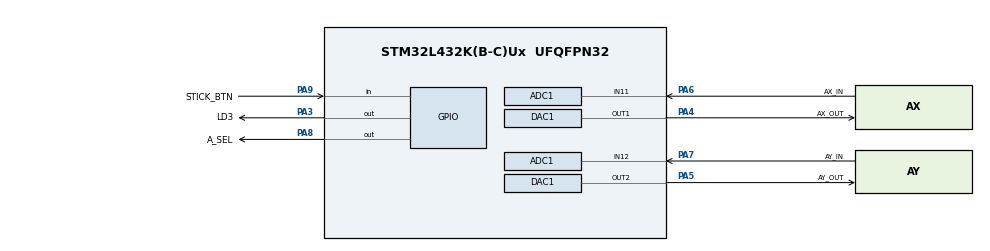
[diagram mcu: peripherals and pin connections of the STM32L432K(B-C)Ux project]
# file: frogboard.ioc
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ADC1.Channel-0\#ChannelRegularConversion=ADC_CHANNEL_11
ADC1.Channel-1\#ChannelRegularConversion=ADC_CHANNEL_12
ADC1.DiscontinuousConvMode=DISABLE
ADC1.NbrOfConversion=2
ADC1.NbrOfConversionFlag=1
ADC1.OffsetNumber-0\#ChannelRegularConversion=ADC_OFFSET_NONE
ADC1.OffsetNumber-1\#ChannelRegularConversion=ADC_OFFSET_NONE
ADC1.Rank-0\#ChannelRegularConversion=1
ADC1.Rank-1\#ChannelRegularConversion=2
ADC1.SamplingTime-0\#ChannelRegularConversion=ADC_SAMPLETIME_640CYCLES_5
ADC1.SamplingTime-1\#ChannelRegularConversion=ADC_SAMPLETIME_640CYCLES_5
ADC1.master=1
DAC1.DAC_Channel-DAC_OUT2=DAC_CHANNEL_2
LPTIM1.UpdateMode=LPTIM_UPDATE_IMMEDIATE
Mcu.Family=STM32L4
Mcu.Name=STM32L432K(B-C)Ux
Mcu.Package=UFQFPN32
NVIC.LPTIM1_IRQn=true\:0\:0\:false\:false\:true\:true\:true\:true
NVIC.PriorityGroup=NVIC_PRIORITYGROUP_4
PA13\ (JTMS-SWDIO).GPIO_Label=SWDIO
PA13\ (JTMS-SWDIO).Mode=Serial_Wire
PA13\ (JTMS-SWDIO).Signal=SYS_JTMS-SWDIO
PA14\ (JTCK-SWCLK).GPIO_Label=SWCLK
PA14\ (JTCK-SWCLK).Mode=Serial_Wire
PA14\ (JTCK-SWCLK).Signal=SYS_JTCK-SWCLK
PA3.GPIO_Label=LD3
PA3.PinState=GPIO_PIN_SET
PA3.Signal=GPIO_Output
PA4.GPIO_Label=AX_OUT
PA4.Signal=COMP_DAC11_group
PA5.GPIO_Label=AY_OUT
PA5.Signal=COMP_DAC12_group
PA6.GPIO_Label=AX_IN
PA6.Signal=ADCx_IN11
PA7.GPIO_Label=AY_IN
PA7.Signal=ADCx_IN12
PA8.GPIO_Label=A_SEL
PA8.Signal=GPIO_Output
PA9.GPIO_Label=STICK_BTN
PA9.GPIO_PuPd=GPIO_PULLUP
PA9.Signal=GPIO_Input
ProjectManager.HeapSize=0x200
ProjectManager.StackSize=0x400
ProjectManager.TargetToolchain=CMake
RCC.ADCFreq_Value=0
RCC.AHBFreq_Value=0
RCC.APB1Freq_Value=0
RCC.APB1TimFreq_Value=0
RCC.APB2Freq_Value=0
RCC.APB2TimFreq_Value=0
RCC.CortexFreq_Value=0
RCC.FLatency=FLASH_LATENCY_0
RCC.HCLKFreq_Value=0
RCC.LPTIM1CLockSelection=RCC_LPTIM1CLKSOURCE_LSI
RCC.MSIAutoCalibration=DISABLED
RCC.PLLN=24
RCC.PLLR=RCC_PLLR_DIV4
RCC.PLLSAI1N=24
RCC.SYSCLKSource=RCC_SYSCLKSOURCE_PLLCLK
RCC.USBFreq_Value=0
SH.ADCx_IN11.0=ADC1_IN11,IN11-Single-Ended
SH.ADCx_IN12.0=ADC1_IN12,IN12-Single-Ended
SH.COMP_DAC11_group.0=DAC1_OUT1,DAC_OUT1
SH.COMP_DAC12_group.0=DAC1_OUT2,DAC_OUT2
VP_LPTIM1_VS_LPTIM_counterModeInternalClock.Mode=Counts__internal_clock_event_00
board=NUCLEO-L432KC

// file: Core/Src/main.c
/* USER CODE BEGIN Header */
/**
  ******************************************************************************
  * @file           : main.c
  * @brief          : Main program body
  ******************************************************************************
  * @attention
  *
  * Copyright (c) 2025 STMicroelectronics.
  * All rights reserved.
  *
  * This software is licensed under terms that can be found in the LICENSE file
  * in the root directory of this software component.
  * If no LICENSE file comes with this software, it is provided AS-IS.
  *
  ******************************************************************************
  */
/* USER CODE END Header */
#include "main.h"

/* USER CODE BEGIN Includes */
#include <stdlib.h>
#include <stdio.h>
#include "stm32l4xx_hal.h"
#include "stm32l4xx_hal_adc.h"
#include "stm32l4xx_hal_conf.h"
#include "stm32l4xx_hal_dac.h"
#include "stm32l4xx_hal_flash.h"
#include "stm32l4xx_hal_gpio.h"
#include "stm32l4xx_hal_lptim.h"

#include "stick.h"
#include "stick_types.h"

#include "intf.h"
#include "settings.h"
#include "menu.h"
/* USER CODE END Includes */

/* USER CODE BEGIN PTD */
typedef struct {
    int8_t x;
    int8_t y;
} vec2_t;
/* USER CODE END PTD */

/* USER CODE BEGIN PD */
#define TIMER_LEN ((1 << 24) - 1)
#define POLL_RATE_HZ 2048

//#define BENCHMARK_SPEED
#define OUTPUT_CAL
/* USER CODE END PD */

ADC_HandleTypeDef hadc1;

DAC_HandleTypeDef hdac1;

LPTIM_HandleTypeDef hlptim1;

/* USER CODE BEGIN PV */
volatile int g_poll_rdy = 1;
volatile int g_poll_rdy_chk_ignore = 0;
volatile int g_sleeping = 0;
uint16_t g_adc_res[2];
/* USER CODE END PV */

void SystemClock_Config(void);
static void MX_GPIO_Init(void);
static void MX_ADC1_Init(void);
static void MX_DAC1_Init(void);
static void MX_LPTIM1_Init(void);
/* USER CODE BEGIN PFP */
// #define PRINTF2UART1 int __io_putchar(int data)
/* USER CODE END PFP */

/* USER CODE BEGIN 0 */

#ifdef BENCHMARK_SPEED
void speed_benchmark() {
  debug_print("This is FrogBoard! (speed benchmark)\n\r");
  vec2_t calibration_points_in[] = {
    { 3, 0 },
    { 96, 0 },
    { 0, 1 },
    { 70, 74 },
    { 0, 1 },
    { -1, 85 },
    { 0, 0 },
    { -60, 80 },
    { 0, 2 },
    { -100, 0 },
    { 0, 1 },
    { -70, -70 },
    { 1, 1 },
    { 0, -82 },
    { 0, 0 },
    { 80, -80 }
};
  calib_results_t test_calib_results = {0};
  stick_config_t test_stick_config = {
    .notch_points_x = {
        INT_N_TO_AX(85, 8), INT_N_TO_AX(70, 8), INT_N_TO_AX(0, 8),
        INT_N_TO_AX(-70, 8), INT_N_TO_AX(-85, 8), INT_N_TO_AX(-70, 8),
        INT_N_TO_AX(0, 8), INT_N_TO_AX(70, 8)
    },
    .notch_points_y = {
        INT_N_TO_AX(0, 8), INT_N_TO_AX(70, 8), INT_N_TO_AX(85, 8),
        INT_N_TO_AX(70, 8), INT_N_TO_AX(0, 8), INT_N_TO_AX(-70, 8),
        INT_N_TO_AX(-85, 8), INT_N_TO_AX(-70, 8)
    },
    .angle_deadzones = {0},
    .mag_threshold = .8 // 80% into the notch by default
};
  analoglib_init(&test_calib_results, &test_stick_config);
  analog_data_t in;
  // Skip "start" command
  _cal_step = 1;
  for (int i = 0; i < 16; i++) {
    in.ax1 = INT_N_TO_AX(calibration_points_in[i].x, 8);
    in.ax2 = INT_N_TO_AX(calibration_points_in[i].y, 8);
    analoglib_cal_advance(&in);
  }
  SysTick->CTRL = 0x07;     // CLKSRC | ENABLE, interrupt enable
  int thing = 0;
  while (1) {
    SysTick->LOAD = TIMER_LEN;
    SysTick->VAL = 1-1;
    g_timer_wrap = 0;
    analog_data_t out;
    for (volatile int i = 0; i < 1000; i++) {
      in.ax1 = INT_N_TO_AX((rand() & 255 - 128), 8);
      in.ax2 = INT_N_TO_AX((rand() & 255 - 128), 8);
      analoglib_process(&in, &out, false);
    }
    uint32_t duration = (TIMER_LEN - SysTick->VAL) + (g_timer_wrap * TIMER_LEN);
    int speed = (int)(24.0e9 /((float)duration));
    debug_print("%d\n\r", speed);
    HAL_GPIO_TogglePin(LD3_GPIO_Port, LD3_Pin);
    intf_out(AX_TO_INT16(out.ax1),AX_TO_INT16(out.ax2));
    thing++;
    if ((thing & 15) == 0) {
      intf_out(0,0);
      for (volatile int i = 0; i < 1000000; i++) {
      }
    }
  }
}
#endif

static inline void main_loop_body(bool *settings_mode) {
  static int cnt = 0;
  analog_data_t in;
  analog_data_t out;
  // Read ADC
  intf_adc_in(g_adc_res);

  // In Phobri stickboard emulation mode? Send out the raw ADC reading
  if (!intf_is_mode_analog()) {
    intf_out(g_adc_res[CHAN_X], g_adc_res[CHAN_Y]);
    return;
  }

  in.ax1 = UINT_N_TO_AX(g_adc_res[CHAN_X], 12);
  in.ax2 = UINT_N_TO_AX(g_adc_res[CHAN_Y], 12);

  analoglib_process(&in, &out, false);

  // If we are in settings mode, the calibrated output is treated as an input
  // to control the settings menu
  if (*settings_mode) {
    // long running process; ignore sleep check
    g_poll_rdy_chk_ignore = true;
    *settings_mode = menu_process(&in, &out);
  }

  intf_out(AX_TO_INT16(out.ax1), AX_TO_INT16(out.ax2));
  if ((cnt & 255) == 0 && !*settings_mode) {
    HAL_GPIO_TogglePin(LD3_GPIO_Port, LD3_Pin);
  }
  cnt++;
}

/* USER CODE END 0 */

int main(void)
{

  /* MCU Configuration--------------------------------------------------------*/

  /* Reset of all peripherals, Initializes the Flash interface and the Systick. */
  HAL_Init();

  /* USER CODE BEGIN Init */
  MX_DAC1_Init();
  HAL_DAC_Start(&hdac1, DAC_CHANNEL_1);
  HAL_DAC_Start(&hdac1, DAC_CHANNEL_2);
  DAC1->DHR12RD = (2048) << 16 | (2048);
  /* USER CODE END Init */

  /* Configure the system clock */
  SystemClock_Config();

  /* Initialize all configured peripherals */
  MX_GPIO_Init();
  MX_ADC1_Init();
  MX_LPTIM1_Init();
  /* USER CODE BEGIN 2 */
  // Initialize output interface - do the I2C test to see if we need to be in Phobri mode or not
  intf_init(&hadc1, &hdac1);
  HAL_GPIO_WritePin(A_SEL_GPIO_Port, A_SEL_Pin, true);

  // First (try to) load settings from flash. Interface will need this for output calibration when running in analog mode.
  bool needs_factory_init = intf_is_mode_analog() && settings_load();

  // Run any special benchmark modes if specified
#if defined(BENCHMARK_SPEED)
  speed_benchmark();
  return 0;
#elif defined(BENCHMARK_POWER)
  // TODO
  return 0;
#elif defined(OUTPUT_CAL)

#endif
  // Stick procesing library should use our settings
  analoglib_init(
    &g_settings.calib_results,
    &g_settings.stick_config,
    1/((float)POLL_RATE_HZ));

  // Run the factory calibration process if settings load says this is the first time
  if (needs_factory_init) {
    factory_init(&hadc1);
  }

  // Done initializing!
  debug_print("This is FrogBoard!\n\r");
  /* USER CODE END 2 */

  /* Infinite loop */
  /* USER CODE BEGIN WHILE */
  bool settings_mode = needs_factory_init || !HAL_GPIO_ReadPin(STICK_BTN_GPIO_Port, STICK_BTN_Pin);
  if (settings_mode) {
    debug_print("Enter settings mode...\n\r");
  }

  LPTIM1->IER = LPTIM_IER_ARRMIE;
  HAL_LPTIM_Counter_Start(&hlptim1, 32768 / POLL_RATE_HZ);
  while (1) {
    if (!g_poll_rdy && !g_poll_rdy_chk_ignore) {
      debug_print("Sanity check failed! Is the main loop taking too long..?\n");
      Error_Handler();
    }
    g_poll_rdy_chk_ignore = 0;
    main_loop_body(&settings_mode);
    g_poll_rdy = 0;

    if (settings_mode) continue; // don't sleep in settings mode. TODO: it should still be waiting though
    HAL_ADC_DeInit(&hadc1);
    LL_ADC_DisableInternalRegulator(hadc1.Instance);
    HAL_SuspendTick();
    g_sleeping = 1;
    HAL_PWREx_EnterSTOP0Mode(PWR_SLEEPENTRY_WFI);
    g_sleeping = 0;
    HAL_ResumeTick();
    MX_ADC1_Init();
  }
    /* USER CODE END WHILE */

}

void SystemClock_Config(void)
{
  RCC_OscInitTypeDef RCC_OscInitStruct = {0};
  RCC_ClkInitTypeDef RCC_ClkInitStruct = {0};

  /** Configure the main internal regulator output voltage
  */
  if (HAL_PWREx_ControlVoltageScaling(PWR_REGULATOR_VOLTAGE_SCALE1) != HAL_OK)
  {
    Error_Handler();
  }

  /** Initializes the RCC Oscillators according to the specified parameters
  * in the RCC_OscInitTypeDef structure.
  */
  RCC_OscInitStruct.OscillatorType = RCC_OSCILLATORTYPE_LSI|RCC_OSCILLATORTYPE_MSI;
  RCC_OscInitStruct.LSIState = RCC_LSI_ON;
  RCC_OscInitStruct.MSIState = RCC_MSI_ON;
  RCC_OscInitStruct.MSICalibrationValue = 0;
  RCC_OscInitStruct.MSIClockRange = RCC_MSIRANGE_6;
  RCC_OscInitStruct.PLL.PLLState = RCC_PLL_ON;
  RCC_OscInitStruct.PLL.PLLSource = RCC_PLLSOURCE_MSI;
  RCC_OscInitStruct.PLL.PLLM = 1;
  RCC_OscInitStruct.PLL.PLLN = 24;
  RCC_OscInitStruct.PLL.PLLP = RCC_PLLP_DIV7;
  RCC_OscInitStruct.PLL.PLLQ = RCC_PLLQ_DIV2;
  RCC_OscInitStruct.PLL.PLLR = RCC_PLLR_DIV4;
  if (HAL_RCC_OscConfig(&RCC_OscInitStruct) != HAL_OK)
  {
    Error_Handler();
  }

  /** Initializes the CPU, AHB and APB buses clocks
  */
  RCC_ClkInitStruct.ClockType = RCC_CLOCKTYPE_HCLK|RCC_CLOCKTYPE_SYSCLK
                              |RCC_CLOCKTYPE_PCLK1|RCC_CLOCKTYPE_PCLK2;
  RCC_ClkInitStruct.SYSCLKSource = RCC_SYSCLKSOURCE_PLLCLK;
  RCC_ClkInitStruct.AHBCLKDivider = RCC_SYSCLK_DIV1;
  RCC_ClkInitStruct.APB1CLKDivider = RCC_HCLK_DIV1;
  RCC_ClkInitStruct.APB2CLKDivider = RCC_HCLK_DIV1;

  if (HAL_RCC_ClockConfig(&RCC_ClkInitStruct, FLASH_LATENCY_0) != HAL_OK)
  {
    Error_Handler();
  }
}

static void MX_ADC1_Init(void)
{

  ADC_ChannelConfTypeDef sConfig = {0};

  /** Common config
  */
  hadc1.Instance = ADC1;
  hadc1.Init.ClockPrescaler = ADC_CLOCK_ASYNC_DIV1;
  hadc1.Init.Resolution = ADC_RESOLUTION_12B;
  hadc1.Init.DataAlign = ADC_DATAALIGN_RIGHT;
  hadc1.Init.ScanConvMode = ADC_SCAN_ENABLE;
  hadc1.Init.EOCSelection = ADC_EOC_SINGLE_CONV;
  hadc1.Init.LowPowerAutoWait = DISABLE;
  hadc1.Init.ContinuousConvMode = DISABLE;
  hadc1.Init.NbrOfConversion = 2;
  hadc1.Init.DiscontinuousConvMode = DISABLE;
  hadc1.Init.ExternalTrigConv = ADC_SOFTWARE_START;
  hadc1.Init.ExternalTrigConvEdge = ADC_EXTERNALTRIGCONVEDGE_NONE;
  hadc1.Init.DMAContinuousRequests = DISABLE;
  hadc1.Init.Overrun = ADC_OVR_DATA_PRESERVED;
  hadc1.Init.OversamplingMode = DISABLE;
  if (HAL_ADC_Init(&hadc1) != HAL_OK)
  {
    Error_Handler();
  }

  /** Configure Regular Channel
  */
  sConfig.Channel = ADC_CHANNEL_11;
  sConfig.Rank = ADC_REGULAR_RANK_1;
  sConfig.SamplingTime = ADC_SAMPLETIME_640CYCLES_5;
  sConfig.SingleDiff = ADC_SINGLE_ENDED;
  sConfig.OffsetNumber = ADC_OFFSET_NONE;
  sConfig.Offset = 0;
  if (HAL_ADC_ConfigChannel(&hadc1, &sConfig) != HAL_OK)
  {
    Error_Handler();
  }

  /** Configure Regular Channel
  */
  sConfig.Channel = ADC_CHANNEL_12;
  sConfig.Rank = ADC_REGULAR_RANK_2;
  if (HAL_ADC_ConfigChannel(&hadc1, &sConfig) != HAL_OK)
  {
    Error_Handler();
  }
  /* USER CODE BEGIN ADC1_Init 2 */
  HAL_ADCEx_Calibration_Start(&hadc1, ADC_SINGLE_ENDED);
  /* USER CODE END ADC1_Init 2 */

}

static void MX_DAC1_Init(void)
{

  /* USER CODE BEGIN DAC1_Init 0 */
  RCC->APB1ENR1 |= RCC_APB1ENR1_DAC1EN;

  // 2. (CRITICAL FOR ROBUSTNESS) Force a reset of the DAC peripheral
  RCC->APB1RSTR1 |= RCC_APB1RSTR1_DAC1RST; // Assert reset
  RCC->APB1RSTR1 &= ~RCC_APB1RSTR1_DAC1RST; // De-assert reset

  /* USER CODE END DAC1_Init 0 */

  DAC_ChannelConfTypeDef sConfig = {0};

  /** DAC Initialization
  */
  hdac1.Instance = DAC1;
  if (HAL_DAC_Init(&hdac1) != HAL_OK)
  {
    Error_Handler();
  }

  /** DAC channel OUT1 config
  */
  sConfig.DAC_SampleAndHold = DAC_SAMPLEANDHOLD_DISABLE;
  sConfig.DAC_Trigger = DAC_TRIGGER_NONE;
  sConfig.DAC_OutputBuffer = DAC_OUTPUTBUFFER_ENABLE;
  sConfig.DAC_ConnectOnChipPeripheral = DAC_CHIPCONNECT_DISABLE;
  sConfig.DAC_UserTrimming = DAC_TRIMMING_FACTORY;
  if (HAL_DAC_ConfigChannel(&hdac1, &sConfig, DAC_CHANNEL_1) != HAL_OK)
  {
    Error_Handler();
  }

  /** DAC channel OUT2 config
  */
  if (HAL_DAC_ConfigChannel(&hdac1, &sConfig, DAC_CHANNEL_2) != HAL_OK)
  {
    Error_Handler();
  }

}

static void MX_LPTIM1_Init(void)
{

  hlptim1.Instance = LPTIM1;
  hlptim1.Init.Clock.Source = LPTIM_CLOCKSOURCE_APBCLOCK_LPOSC;
  hlptim1.Init.Clock.Prescaler = LPTIM_PRESCALER_DIV1;
  hlptim1.Init.Trigger.Source = LPTIM_TRIGSOURCE_SOFTWARE;
  hlptim1.Init.OutputPolarity = LPTIM_OUTPUTPOLARITY_HIGH;
  hlptim1.Init.UpdateMode = LPTIM_UPDATE_IMMEDIATE;
  hlptim1.Init.CounterSource = LPTIM_COUNTERSOURCE_INTERNAL;
  hlptim1.Init.Input1Source = LPTIM_INPUT1SOURCE_GPIO;
  hlptim1.Init.Input2Source = LPTIM_INPUT2SOURCE_GPIO;
  if (HAL_LPTIM_Init(&hlptim1) != HAL_OK)
  {
    Error_Handler();
  }

}

static void MX_GPIO_Init(void)
{
  GPIO_InitTypeDef GPIO_InitStruct = {0};

  /* GPIO Ports Clock Enable */
  __HAL_RCC_GPIOA_CLK_ENABLE();

  /*Configure GPIO pin Output Level */
  HAL_GPIO_WritePin(LD3_GPIO_Port, LD3_Pin, GPIO_PIN_SET);

  /*Configure GPIO pin Output Level */
  HAL_GPIO_WritePin(A_SEL_GPIO_Port, A_SEL_Pin, GPIO_PIN_RESET);

  /*Configure GPIO pins : LD3_Pin A_SEL_Pin */
  GPIO_InitStruct.Pin = LD3_Pin|A_SEL_Pin;
  GPIO_InitStruct.Mode = GPIO_MODE_OUTPUT_PP;
  GPIO_InitStruct.Pull = GPIO_NOPULL;
  GPIO_InitStruct.Speed = GPIO_SPEED_FREQ_LOW;
  HAL_GPIO_Init(GPIOA, &GPIO_InitStruct);

  /*Configure GPIO pin : STICK_BTN_Pin */
  GPIO_InitStruct.Pin = STICK_BTN_Pin;
  GPIO_InitStruct.Mode = GPIO_MODE_INPUT;
  GPIO_InitStruct.Pull = GPIO_PULLUP;
  HAL_GPIO_Init(STICK_BTN_GPIO_Port, &GPIO_InitStruct);

}

/* USER CODE BEGIN 4 */
//PRINTF2UART1 {
//  HAL_UART_Transmit(&huart1, (uint8_t *)&data, 1, 0xFFFF);
//  return data;
//}
/* USER CODE END 4 */

void Error_Handler(void)
{
  __disable_irq();
  while (1)
  {
  }
}
#ifdef USE_FULL_ASSERT
/**
  * @brief  Reports the name of the source file and the source line number
  *         where the assert_param error has occurred.
  * @param  file: pointer to the source file name
  * @param  line: assert_param error line source number
  * @retval None
  */
void assert_failed(uint8_t *file, uint32_t line)
{
  /* USER CODE BEGIN 6 */
  /* User can add his own implementation to report the file name and line number,
     ex: debug_print("Wrong parameters value: file %s on line %d\r\n", file, line) */
  /* USER CODE END 6 */
}
#endif /* USE_FULL_ASSERT */
